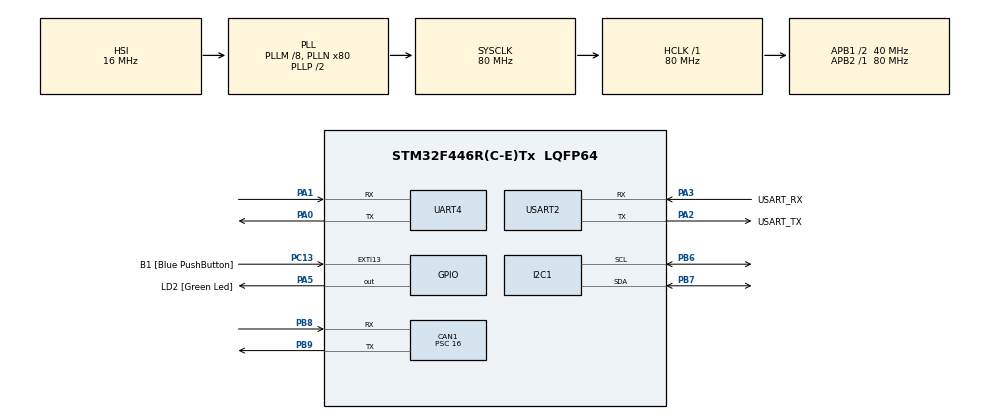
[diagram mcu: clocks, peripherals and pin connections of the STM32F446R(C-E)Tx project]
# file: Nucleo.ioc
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CAN1.BS1=CAN_BS1_2TQ
CAN1.BS2=CAN_BS2_2TQ
CAN1.CalculateBaudRate=500000
CAN1.CalculateTimeBit=2000
CAN1.CalculateTimeQuantum=400.0
CAN1.Prescaler=16
Dma.Request0=UART4_RX
Dma.UART4_RX.0.Direction=DMA_PERIPH_TO_MEMORY
Dma.UART4_RX.0.FIFOMode=DMA_FIFOMODE_DISABLE
Dma.UART4_RX.0.Instance=DMA1_Stream2
Dma.UART4_RX.0.MemDataAlignment=DMA_MDATAALIGN_BYTE
Dma.UART4_RX.0.MemInc=DMA_MINC_ENABLE
Dma.UART4_RX.0.Mode=DMA_NORMAL
Dma.UART4_RX.0.PeriphDataAlignment=DMA_PDATAALIGN_BYTE
Dma.UART4_RX.0.PeriphInc=DMA_PINC_DISABLE
Dma.UART4_RX.0.Priority=DMA_PRIORITY_LOW
Mcu.Family=STM32F4
Mcu.Name=STM32F446R(C-E)Tx
Mcu.Package=LQFP64
NVIC.DMA1_Stream2_IRQn=true\:0\:0\:false\:false\:true\:false\:true\:true
NVIC.PriorityGroup=NVIC_PRIORITYGROUP_0
NVIC.UART4_IRQn=true\:0\:0\:false\:false\:true\:true\:true\:true
NVIC.USART2_IRQn=true\:0\:0\:false\:false\:true\:true\:true\:true
PA0-WKUP.Mode=Asynchronous
PA0-WKUP.Signal=UART4_TX
PA1.Mode=Asynchronous
PA1.Signal=UART4_RX
PA13.GPIO_Label=TMS
PA13.Mode=Serial_Wire
PA13.Signal=SYS_JTMS-SWDIO
PA14.GPIO_Label=TCK
PA14.Mode=Serial_Wire
PA14.Signal=SYS_JTCK-SWCLK
PA2.GPIO_Label=USART_TX
PA2.Mode=Asynchronous
PA2.Signal=USART2_TX
PA3.GPIO_Label=USART_RX
PA3.Mode=Asynchronous
PA3.Signal=USART2_RX
PA5.GPIO_Label=LD2 [Green Led]
PA5.Signal=GPIO_Output
PB3.GPIO_Label=SWO
PB3.Signal=SYS_JTDO-SWO
PB6.Mode=I2C
PB6.Signal=I2C1_SCL
PB7.Mode=I2C
PB7.Signal=I2C1_SDA
PB8.Mode=CAN_Activate
PB8.Signal=CAN1_RX
PB9.Mode=CAN_Activate
PB9.Signal=CAN1_TX
PC13.GPIO_Label=B1 [Blue PushButton]
PC13.GPIO_ModeDefaultEXTI=GPIO_MODE_IT_FALLING
PC13.Signal=GPXTI13
PC14-OSC32_IN.Mode=LSE-External-Oscillator
PC14-OSC32_IN.Signal=RCC_OSC32_IN
PC15-OSC32_OUT.Mode=LSE-External-Oscillator
PC15-OSC32_OUT.Signal=RCC_OSC32_OUT
PH0-OSC_IN.Mode=HSE-External-Oscillator
PH0-OSC_IN.Signal=RCC_OSC_IN
PH1-OSC_OUT.Mode=HSE-External-Oscillator
PH1-OSC_OUT.Signal=RCC_OSC_OUT
ProjectManager.HeapSize=0x200
ProjectManager.StackSize=0x400
ProjectManager.TargetToolchain=STM32CubeIDE
RCC.48MHZClocksFreq_Value=84000000
RCC.AHBFreq_Value=80000000
RCC.APB1CLKDivider=RCC_HCLK_DIV2
RCC.APB1Freq_Value=40000000
RCC.APB1TimFreq_Value=80000000
RCC.APB2Freq_Value=80000000
RCC.APB2TimFreq_Value=80000000
RCC.CortexFreq_Value=80000000
RCC.FLatency-AdvancedSettings=FLASH_LATENCY_2
RCC.HCLKFreq_Value=80000000
RCC.HSE_VALUE=8000000
RCC.HSI_VALUE=16000000
RCC.PLLM=8
RCC.PLLN=80
RCC.SYSCLKFreq_VALUE=80000000
RCC.SYSCLKSource=RCC_SYSCLKSOURCE_PLLCLK
RCC.USBFreq_Value=80000000
RCC.VCOOutputFreq_Value=160000000
UART4.VirtualMode=Asynchronous
USART2.VirtualMode=VM_ASYNC
board=NUCLEO-F446RE

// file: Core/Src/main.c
/* USER CODE BEGIN Header */
/**
 ******************************************************************************
 * @file           : main.c
 * @brief          : Main program body
 ******************************************************************************
 * @attention
 *
 * Copyright (c) 2023 STMicroelectronics.
 * All rights reserved.
 *
 * This software is licensed under terms that can be found in the LICENSE file
 * in the root directory of this software component.
 * If no LICENSE file comes with this software, it is provided AS-IS.
 *
 ******************************************************************************
 */
/* USER CODE END Header */
#include "main.h"
#include "can.h"
#include "dma.h"
#include "i2c.h"
#include "usart.h"
#include "gpio.h"

/* USER CODE BEGIN Includes */
#include "BMP280.h"
#include <stdio.h>
#include "shell.h"
//#include "shell.h"
/* USER CODE END Includes */

/* USER CODE BEGIN PTD */
h_BMP280_t h_BMP280;
/* USER CODE END PTD */

/* USER CODE BEGIN PV */
int K=1000; //Coefficient de correction de la pression
CAN_TxHeaderTypeDef pHeader; //Header de la trame CAN
uint32_t pTxMailbox; //Mailbox de transmission
uint8_t aData[2];  //Data to send
char BMP280_test=0; //Test du BMP280
extern DMA_HandleTypeDef hdma_uart4_rx;
uint8_t RxChar;
uint8_t RxBuffer[RX_BUFFER_SIZE];
/* USER CODE END PV */

void SystemClock_Config(void);

/* USER CODE BEGIN 0 */
int __io_putchar(int ch) {                                           //redirige la fonction printf
	HAL_UART_Transmit(&huart4, (uint8_t *)&ch, 1, HAL_MAX_DELAY);	 //vers l'uart2 ( pour la connexion serial avec l'ordinateur)
	HAL_UART_Transmit(&huart2, (uint8_t *)&ch, 1, HAL_MAX_DELAY);	 //uart4 pour le rasppberry Pi zero

	return ch;
}

int I2C_transmit(uint8_t address, uint8_t *p_data, uint16_t size)
{
	if(HAL_I2C_Master_Transmit(&hi2c1, address, p_data, size, 100) != HAL_OK){
		printf("Error transmit");
	}
	return 0;
}

int I2C_receive(uint8_t address, uint8_t *p_data, uint16_t size)
{

	if(HAL_I2C_Master_Receive(&hi2c1, address, p_data, size, 100) != HAL_OK)
	{
		printf("Error receive");
	};
	return 0;
}
/* USER CODE END 0 */

int main(void)
{

	/* MCU Configuration--------------------------------------------------------*/

	/* Reset of all peripherals, Initializes the Flash interface and the Systick. */
	HAL_Init();

	/* Configure the system clock */
	SystemClock_Config();

	/* Initialize all configured peripherals */
	MX_GPIO_Init();
	MX_DMA_Init();
	MX_USART2_UART_Init();
	MX_I2C1_Init();
	MX_CAN1_Init();
	MX_UART4_Init();
	/* USER CODE BEGIN 2 */

	//CAN
	HAL_CAN_Start(&hcan1);

	//Définir le sens de rotation du moteur
	aData[0]=45;	//Fonctionnement de base avec un angle de 45°
	aData[1]=0x00;	// Tourne dans le sens positif
	pHeader.StdId= 0x61;  //Contrôle du moteur en mode "commande angulaire"
	pHeader.IDE=CAN_ID_STD; //Format de la trame
	pHeader.RTR=CAN_RTR_DATA;  //Trame de données
	pHeader.DLC=2;        //nombre de paquet en transmission
	pHeader.TransmitGlobalTime=DISABLE; //Désactive le timestamp

	HAL_UARTEx_ReceiveToIdle_DMA(&huart4, RxBuffer, RX_BUFFER_SIZE); //Initialisation de la réception UART4
	__HAL_DMA_DISABLE_IT(&hdma_uart4_rx, DMA_IT_HT); //Désactive l'interruption de la réception UART4

	//BMP280 init et étalonnage du capteur de pression et de température (voir BMP280.c)
	h_BMP280.I2C_drv.receive = I2C_receive; //Initialisation de la structure de la fonction de réception I2C
	h_BMP280.I2C_drv.transmit = I2C_transmit; //Initialisation de la structure de la fonction de transmission I2C
	BMP280_init(&h_BMP280); //Initialisation du BMP280 (check d'id ect ....)
	printf("\r\nChip ID = %x\r\n", h_BMP280.chip);
	printf("\r\npower mode = %x\r\n", h_BMP280.power);
	printf("\r\nsample = %x\r\n", h_BMP280.sample);
	/* USER CODE END 2 */
	/* Infinite loop */
	while (1)
	{

		/* USER CODE BEGIN 3 */
		aData[1]=(aData[1]+1)%2; //Le moteur tourne entre 0 et 180° le modulo sert à inverser le sens de de rotation pour rester dans cette tranche
		if (HAL_CAN_AddTxMessage(&hcan1, &pHeader,aData,&pTxMailbox) != HAL_OK){
			printf("error !");
		}
		HAL_Delay(50);
		//Shell_Loop();
	}
	/* USER CODE END 3 */
}

void SystemClock_Config(void)
{
	RCC_OscInitTypeDef RCC_OscInitStruct = {0};
	RCC_ClkInitTypeDef RCC_ClkInitStruct = {0};

	/** Configure the main internal regulator output voltage
	 */
	__HAL_RCC_PWR_CLK_ENABLE();
	__HAL_PWR_VOLTAGESCALING_CONFIG(PWR_REGULATOR_VOLTAGE_SCALE3);

	/** Initializes the RCC Oscillators according to the specified parameters
	 * in the RCC_OscInitTypeDef structure.
	 */
	RCC_OscInitStruct.OscillatorType = RCC_OSCILLATORTYPE_HSI;
	RCC_OscInitStruct.HSIState = RCC_HSI_ON;
	RCC_OscInitStruct.HSICalibrationValue = RCC_HSICALIBRATION_DEFAULT;
	RCC_OscInitStruct.PLL.PLLState = RCC_PLL_ON;
	RCC_OscInitStruct.PLL.PLLSource = RCC_PLLSOURCE_HSI;
	RCC_OscInitStruct.PLL.PLLM = 8;
	RCC_OscInitStruct.PLL.PLLN = 80;
	RCC_OscInitStruct.PLL.PLLP = RCC_PLLP_DIV2;
	RCC_OscInitStruct.PLL.PLLQ = 2;
	RCC_OscInitStruct.PLL.PLLR = 2;
	if (HAL_RCC_OscConfig(&RCC_OscInitStruct) != HAL_OK)
	{
		Error_Handler();
	}

	/** Initializes the CPU, AHB and APB buses clocks
	 */
	RCC_ClkInitStruct.ClockType = RCC_CLOCKTYPE_HCLK|RCC_CLOCKTYPE_SYSCLK
			|RCC_CLOCKTYPE_PCLK1|RCC_CLOCKTYPE_PCLK2;
	RCC_ClkInitStruct.SYSCLKSource = RCC_SYSCLKSOURCE_PLLCLK;
	RCC_ClkInitStruct.AHBCLKDivider = RCC_SYSCLK_DIV1;
	RCC_ClkInitStruct.APB1CLKDivider = RCC_HCLK_DIV2;
	RCC_ClkInitStruct.APB2CLKDivider = RCC_HCLK_DIV1;

	if (HAL_RCC_ClockConfig(&RCC_ClkInitStruct, FLASH_LATENCY_2) != HAL_OK)
	{
		Error_Handler();
	}
}

/* USER CODE BEGIN 4 */
void HAL_UARTEx_RxEventCallback(UART_HandleTypeDef *huart, uint16_t Size)
{
	if (huart->Instance == UART4)
	{
		RxBuffer[Size]='\r';				//Gestion du retour charriot
		RxBuffer[Size+1]='\n';
		protocol(RxBuffer,Size+2);			//Gestion des commandes
		HAL_UARTEx_ReceiveToIdle_DMA(&huart4, RxBuffer, RX_BUFFER_SIZE);
		__HAL_DMA_DISABLE_IT(&hdma_uart4_rx, DMA_IT_HT);
	}
}

/* USER CODE END 4 */

void Error_Handler(void)
{
	__disable_irq();
	while (1)
	{
	}
}
